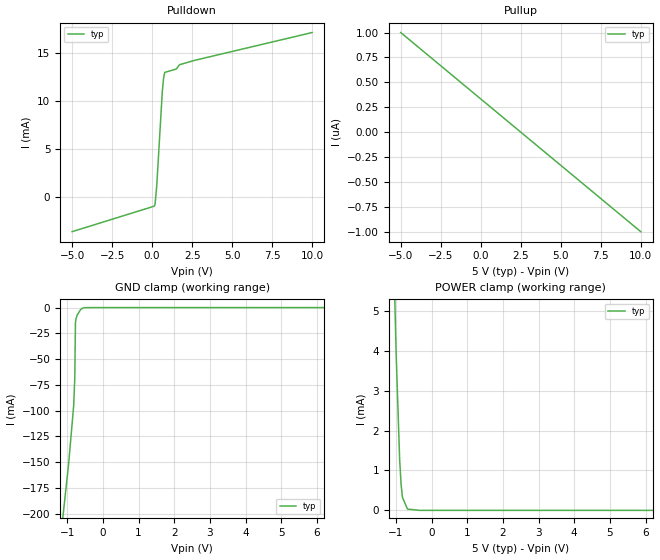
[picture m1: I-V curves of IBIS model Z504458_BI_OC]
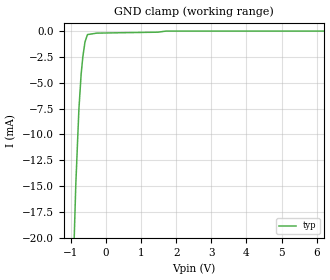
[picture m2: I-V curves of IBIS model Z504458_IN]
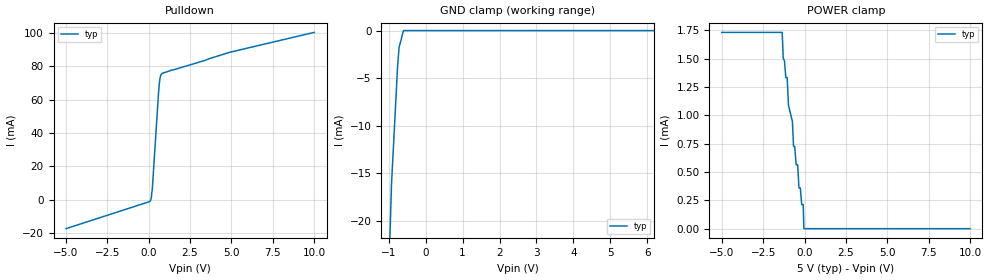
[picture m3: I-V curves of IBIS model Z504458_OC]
| YOU ARE ONLY AUTHORIZED TO USE THIS SOFTWARE
| ACCORDING TO LICENSOR'S LICENSE RESTRICTIONS.
[IBIS Ver] 3.1
[File Name] sn54ls47j.ibs
[File Rev] 2.0
[Source] Measured and created by ICX Technology
[Date] Friday 7/14/00 9:08:15 AM
[Copyright]
| (C) COPYRIGHT 1993-2000
| MENTOR GRAPHICS CORPORATION
| ICX STANDARD LIBRARY, ICX PROJECT MODELING,
| ICX CUSTOM MODELING, ICX VENDOR MODEL
| ALL RIGHTS RESERVED.
| THE FOLLOWING ARE TRADEMARKS OR SERVICE MARKS OF
| MENTOR GRAPHICS CORPORATION:ICX (R), ICX STANDARD
| LIBRARY(R), ICX PROJECT MODELING(R), ICX CUSTOM
| MODELING(R), qualityIBIS(TM), MODELVIEWER(TM),
| AND MODELEDITOR(TM)
| ALL COPIES OF SOFTWARE, INCLUDING BUT NOT LIMITED TO
| ANY MODIFICATIONS, ENHANCEMENTS OR DERIVATIVE WORKS,
| MUST CONTAIN ALL MENTOR GRAPHICS CORPORATION'S
| NOTICES AND LEGENDS, INCLUDING THOSE EMBEDDED IN
| SOFTWARE AND THOSE AFFIXED TO SOFTWARE MEDIUM
| AND CONTAINER, AS RECEIVED FROM MENTOR GRAPHICS
| CORPORATION.
|  ZAP Model Builder 2.7
[Component] SN54LS47J
[Manufacturer] OnSemiconductor
[Package]
| variable   typ   min   max
R_pkg  .212ohms NA NA
L_pkg  4.758nH NA NA
C_pkg  1.944pF NA NA
[Pin] signal_name  model_name  R_pin  L_pin C_pin
1 DB Z504458_IN .224 7.258n 2.683p
2 DC Z504458_IN .216 5.258n 2.19p
3 _LT Z504458_IN .208 3.758n 1.697p
4 _BI_RBO Z504458_BI_OC .2 2.758n 1.204p
5 _RBI Z504458_IN .2 2.758n 1.204p
6 DD Z504458_IN .208 3.758n 1.697p
7 DA Z504458_IN .216 5.258n 2.19p
8 GND GND .224 7.258n 2.683p
9 _E Z504458_OC .224 7.258n 2.683p
10 _D Z504458_OC .216 5.258n 2.19p
11 _C Z504458_OC .208 3.758n 1.697p
12 _B Z504458_OC .2 2.758n 1.204p
13 _A Z504458_OC .2 2.758n 1.204p
14 _G Z504458_OC .208 3.758n 1.697p
15 _F Z504458_OC .216 5.258n 2.19p
16 VCC POWER .224 7.258n 2.683p
| Models and submodels in the file (3): Z504458_BI_OC (I/O_open_sink), Z504458_IN (Input), Z504458_OC (Open_sink)
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| (C) COPYRIGHT 1993-2000
| MENTOR GRAPHICS CORPORATION
| ICX STANDARD LIBRARY, ICX PROJECT MODELING,
| ICX CUSTOM MODELING, ICX VENDOR MODEL
| ALL RIGHTS RESERVED.
| THE FOLLOWING ARE TRADEMARKS OR SERVICE MARKS OF
| MENTOR GRAPHICS CORPORATION:ICX (R), ICX STANDARD
| LIBRARY(R), ICX PROJECT MODELING(R), ICX CUSTOM
| MODELING(R), qualityIBIS(TM), MODELVIEWER(TM),
| AND MODELEDITOR(TM)
| ALL COPIES OF SOFTWARE, INCLUDING BUT NOT LIMITED TO
| ANY MODIFICATIONS, ENHANCEMENTS OR DERIVATIVE WORKS,
| MUST CONTAIN ALL MENTOR GRAPHICS CORPORATION'S
| NOTICES AND LEGENDS, INCLUDING THOSE EMBEDDED IN
| SOFTWARE AND THOSE AFFIXED TO SOFTWARE MEDIUM
| AND CONTAINER, AS RECEIVED FROM MENTOR GRAPHICS
| CORPORATION.
| Model Application Version 1.89 2/18/99.
[Model] Z504458_BI_OC
Model_type I/O_open_sink
Vinl=800.0mV
Vinh=2.000V
Vref=5.000V
Rref=667.0ohms
Cref=45.00pF
Vmeas=1.300V
C_comp 8.000pF NA NA
| variable typ   min   max
[Voltage Range] 5.000V NA NA
[POWER Clamp Reference] 5.000V NA NA
[Pullup Reference] 5.000V NA NA
[Pulldown Reference] 0.000V NA NA
[GND Clamp Reference] 0.000V NA NA
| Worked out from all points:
|   slope of the pulldown table from 0 to 0.75 V, typ, clamps not added: 54.4 ohm
|   GND clamp passes 1 mA (typ) near -0.59 V on its own axis
|   POWER clamp passes 1 mA (typ) near -0.88 V on its own axis
[GND Clamp]
-5V       -1.448A    NA         NA
-961.6mV  -151.3mA   NA         NA
-820.5mV  -95mA      NA         NA
-789.8mV  -67.92mA   NA         NA
-771.5mV  -15.11mA   NA         NA
-756.8mV  -11.06mA   NA         NA
-721.4mV  -7.222mA   NA         NA
-624.9mV  -1.858mA   NA         NA
-566.7mV  -554.4uA   NA         NA
-527.7mV  -102.7uA   NA         NA
-263.9mV  0A         NA         NA
10V       0A         NA         NA
[Pulldown]
-5V       -3.634mA   NA         NA
132.3mV   -973.2uA   NA         NA
190.5mV   -641.1uA   NA         NA
286.3mV   1.125mA    NA         NA
634.8mV   10.97mA    NA         NA
712.8mV   12.35mA    NA         NA
756.2mV   12.8mA     NA         NA
793.5mV   13mA       NA         NA
1.509V    13.35mA    NA         NA
1.709V    13.8mA     NA         NA
2.666V    14.26mA    NA         NA
10V       17.16mA    NA         NA
[Pullup]
-5V       1uA        NA         NA
10V       -1uA       NA         NA
[POWER Clamp]
-5V       216.4mA    NA         NA
-1.22V    13.46mA    NA         NA
-1.049V   5.994mA    NA         NA
-991mV    3.907mA    NA         NA
-893mV    1.265mA    NA         NA
-854mV    660.7uA    NA         NA
-815mV    326.1uA    NA         NA
-674mV    31.79uA    NA         NA
-337mV    0A         NA         NA
10V       0A         NA         NA
[Ramp]
| variable typ min max
dV/dt_r 2.036/13.41n NA NA
dV/dt_f 2.036/11.62n NA NA
R_load = 250.0Ohms
| (C) COPYRIGHT 1993-2000
| MENTOR GRAPHICS CORPORATION
| ICX STANDARD LIBRARY, ICX PROJECT MODELING,
| ICX CUSTOM MODELING, ICX VENDOR MODEL
| ALL RIGHTS RESERVED.
| THE FOLLOWING ARE TRADEMARKS OR SERVICE MARKS OF
| MENTOR GRAPHICS CORPORATION:ICX (R), ICX STANDARD
| LIBRARY(R), ICX PROJECT MODELING(R), ICX CUSTOM
| MODELING(R), qualityIBIS(TM), MODELVIEWER(TM),
| AND MODELEDITOR(TM)
| ALL COPIES OF SOFTWARE, INCLUDING BUT NOT LIMITED TO
| ANY MODIFICATIONS, ENHANCEMENTS OR DERIVATIVE WORKS,
| MUST CONTAIN ALL MENTOR GRAPHICS CORPORATION'S
| NOTICES AND LEGENDS, INCLUDING THOSE EMBEDDED IN
| SOFTWARE AND THOSE AFFIXED TO SOFTWARE MEDIUM
| AND CONTAINER, AS RECEIVED FROM MENTOR GRAPHICS
| CORPORATION.
| Model Application Version 1.89 2/18/99.
[Model] Z504458_IN
Model_type Input
Vinl = 800.0mV
Vinh = 2.000V
C_comp 4.000pF NA NA
| variable typ   min   max
[Voltage Range] 5.000V NA NA
[GND Clamp Reference] 0.000V NA NA
[POWER Clamp Reference] 5.000V NA NA
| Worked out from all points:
|   GND clamp passes 1 mA (typ) near -0.59 V on its own axis
[GND Clamp]
-5V       -485.9mA   NA         NA
-858.4mV  -14.81mA   NA         NA
-771.3mV  -7.61mA    NA         NA
-707.7mV  -4.197mA   NA         NA
-659.7mV  -2.522mA   NA         NA
-597.7mV  -1.063mA   NA         NA
-527.3mV  -347uA     NA         NA
-263.7mV  -203.3uA   NA         NA
1.485V    -111.1uA   NA         NA
1.704V    -6.266uA   NA         NA
10V       -6.266uA   NA         NA
[POWER Clamp]
-5V       0A         NA         NA
10V       0A         NA         NA
| (C) COPYRIGHT 1993-2000
| MENTOR GRAPHICS CORPORATION
| ICX STANDARD LIBRARY, ICX PROJECT MODELING,
| ICX CUSTOM MODELING, ICX VENDOR MODEL
| ALL RIGHTS RESERVED.
| THE FOLLOWING ARE TRADEMARKS OR SERVICE MARKS OF
| MENTOR GRAPHICS CORPORATION:ICX (R), ICX STANDARD
| LIBRARY(R), ICX PROJECT MODELING(R), ICX CUSTOM
| MODELING(R), qualityIBIS(TM), MODELVIEWER(TM),
| AND MODELEDITOR(TM)
| ALL COPIES OF SOFTWARE, INCLUDING BUT NOT LIMITED TO
| ANY MODIFICATIONS, ENHANCEMENTS OR DERIVATIVE WORKS,
| MUST CONTAIN ALL MENTOR GRAPHICS CORPORATION'S
| NOTICES AND LEGENDS, INCLUDING THOSE EMBEDDED IN
| SOFTWARE AND THOSE AFFIXED TO SOFTWARE MEDIUM
| AND CONTAINER, AS RECEIVED FROM MENTOR GRAPHICS
| CORPORATION.
| Model Application Version 1.89 2/18/99.
[Model] Z504458_OC
Model_type Open_sink
Vref=5.000V
Rref=2.001kohms
Cref=15.00pF
Vmeas=1.300V
C_comp 8.000pF NA NA
| variable typ   min   max
[Voltage Range] 5.000V NA NA
[POWER Clamp Reference] 5.000V NA NA
[Pullup Reference] 5.000V NA NA
[Pulldown Reference] 0.000V NA NA
[GND Clamp Reference] 0.000V NA NA
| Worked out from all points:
|   slope of the pulldown table from 0 to 0.75 V, typ, clamps not added: 9.82 ohm
|   GND clamp passes 1 mA (typ) near -0.67 V on its own axis
|   POWER clamp passes 1 mA (typ) near -0.82 V on its own axis
[GND Clamp]
-5V       -1.111A    NA         NA
-1.133V   -46.52mA   NA         NA
-1.03V    -29.56mA   NA         NA
-927.6mV  -16.16mA   NA         NA
-761.7mV  -3.716mA   NA         NA
-722.8mV  -1.787mA   NA         NA
-602.3mV  0A         NA         NA
10V       0A         NA         NA
[Pulldown]
-5V       -17.42mA   NA         NA
107.4mV   -658uA     NA         NA
151.4mV   653.7uA    NA         NA
222.1mV   6.758mA    NA         NA
596.2mV   64.15mA    NA         NA
649.4mV   70.2mA     NA         NA
688.9mV   73.08mA    NA         NA
727.1mV   74.61mA    NA         NA
823.6mV   75.85mA    NA         NA
4.917V    88.51mA    NA         NA
10V       100.4mA    NA         NA
[POWER Clamp]
-5V       1.732mA    NA         NA
-1.348V   1.732mA    NA         NA
-1.287V   1.505mA    NA         NA
-1.049V   1.333mA    NA         NA
-969mV    1.089mA    NA         NA
-732mV    947.3uA    NA         NA
-662mV    725.8uA    NA         NA
-414mV    563.6uA    NA         NA
-334mV    359.1uA    NA         NA
-78mV     212.1uA    NA         NA
-39mV     0A         NA         NA
10V       0A         NA         NA
[Ramp]
| variable typ min max
dV/dt_r 2.820/19.25n NA NA
dV/dt_f 2.820/6.731n NA NA
R_load = 250.0Ohms
